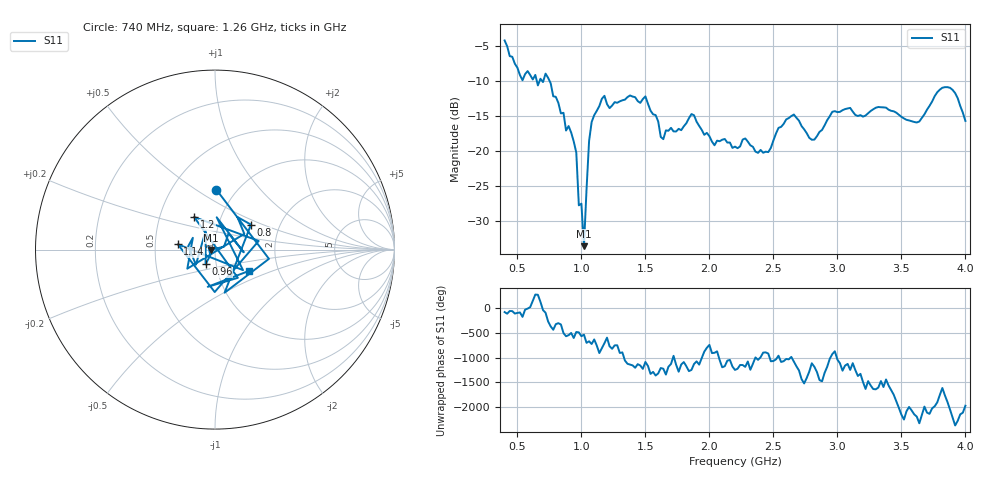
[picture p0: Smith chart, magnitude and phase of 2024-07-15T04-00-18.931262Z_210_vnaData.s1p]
!Created with skrf (http://scikit-rf.org).
# Hz S RI R 50.0
!freq ReS11 ImS11
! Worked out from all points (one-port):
!   181 points, 400 MHz to 4 GHz, reference 50 ohm
!   lowest |S11| = -33.7 dB at 1.02 GHz (marker M1), VSWR 1.04, Z = 48 - j0.136 ohm
!   |S11| at or under -10 dB: 651.7 MHz to 673 MHz (21.29 MHz wide, 3.21 % of centre); 694.1 MHz to 702.3 MHz (8.26 MHz wide, 1.18 % of centre); 751.9 MHz to end of sweep
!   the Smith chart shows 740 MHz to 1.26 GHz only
!   S11 on the Smith chart (normalised r, x): 740 MHz: 0.81, +0.61; 800 MHz: 1.43, +0.42; 960 MHz: 0.89, -0.15; 1.14 GHz: 0.66, +0.04; 1.2 GHz: 0.74, +0.28; 1.26 GHz: 1.42, -0.35
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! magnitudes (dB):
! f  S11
! 400 MHz  -4.2
! 540 MHz  -9.9
! 740 MHz  -9.5
! 800 MHz  -12.3
! 860 MHz  -14.5
! 960 MHz  -20.2
! 980 MHz  -27.8
! 1 GHz  -27.6
! 1.02 GHz  -33.7
! 1.06 GHz  -18.6
! 1.14 GHz  -13.6
! 1.2 GHz  -13.3
! 1.26 GHz  -13.0
! 1.3 GHz  -12.9
! 1.5 GHz  -12.2
! 1.64 GHz  -18.3
! 1.76 GHz  -16.8
! 1.86 GHz  -14.7
! 2.04 GHz  -19.2
! 2.2 GHz  -19.4
! 2.46 GHz  -20.2
! 2.66 GHz  -14.8
! 2.82 GHz  -18.4
! 2.96 GHz  -14.4
! 3.1 GHz  -13.8
! 3.56 GHz  -15.6
! 3.86 GHz  -10.9
! 4 GHz  -15.7
